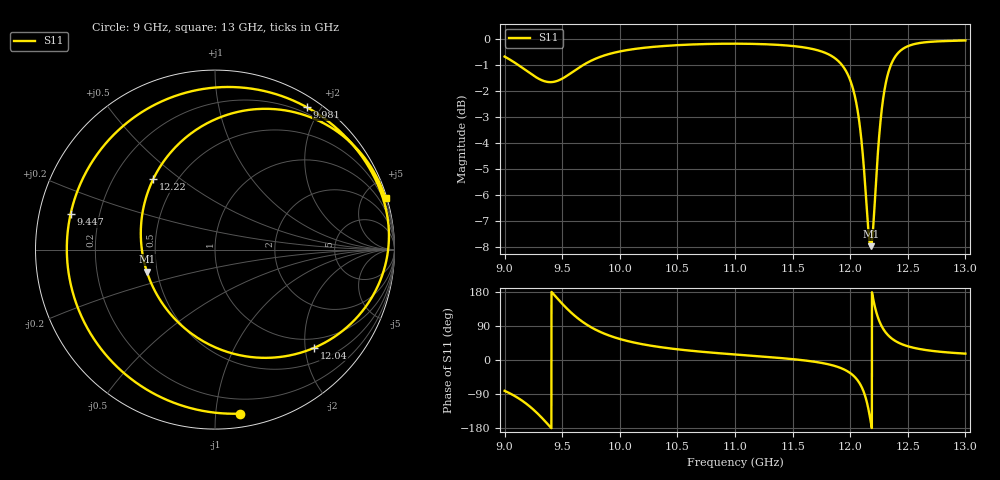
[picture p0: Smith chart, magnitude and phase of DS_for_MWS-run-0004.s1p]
! TOUCHSTONE file generated by CST DESIGN STUDIO
! Date and time: Tue Feb  4 16:28:34 2025
! Project name: C:\Work\MatlabApps\UnitCellOptimizationMatlab\CST\unitcell.cst
! Tree item: Tasks\Sweep1\SPara1\S-Parameters
! Header version: 2024
! Port assignment regex: !\s*Touchstone port\s*([0-9]+)\s*=\s*(CST MWS port|CST DES external port|CST DES block port)\s*(.+)\s* \(\"(.*)\"\)(\s*mode\s*([0-9]+))?.*
! Touchstone port assignment:
! Touchstone port 1 = CST DES external port 1 ("")
# GHz S MA R 50
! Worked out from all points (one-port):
!   4001 points, 9 GHz to 13 GHz, reference 50 ohm
!   lowest |S11| = -8.0 dB at 12.18 GHz (marker M1), VSWR 2.33, Z = 21.9 - j6.36 ohm
!   |S11| at or under -10 dB: nowhere
!   S11 on the Smith chart (normalised r, x): 9 GHz: 0.09, -1.16; 9.447 GHz: 0.10, +0.12; 9.981 GHz: 0.13, +1.83; 12.04 GHz: 0.79, -2.20; 12.22 GHz: 0.37, +0.40; 13 GHz: 0.17, +6.79
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9  0.9245 -81.4
9.127  0.888 -102.2
9.229  0.856 -125.3
9.35  0.8284 -161.1
9.447  0.8287 166.1
9.5  0.8384 148.5
9.592  0.8641 121.2
9.688  0.8921 98.3
9.829  0.9232 74.3
9.981  0.9438 57.2
10  0.9458 55.5
10.213  0.9613 40.7
10.5  0.9724 28.2
11  0.9788 14.5
11.5  0.9688 2.3
11.837  0.9273 -13.3
12  0.8328 -34.4
12.039  0.7783 -44.6
12.119  0.5641 -85.4
12.148  0.4576 -115.5
12.178  0.3992 -162.2
12.222  0.522 131.3
12.26  0.6831 97.6
12.303  0.8095 74.8
12.386  0.9208 51.3
12.5  0.968 36.3
12.681  0.9864 25.2
13  0.9929 16.7
